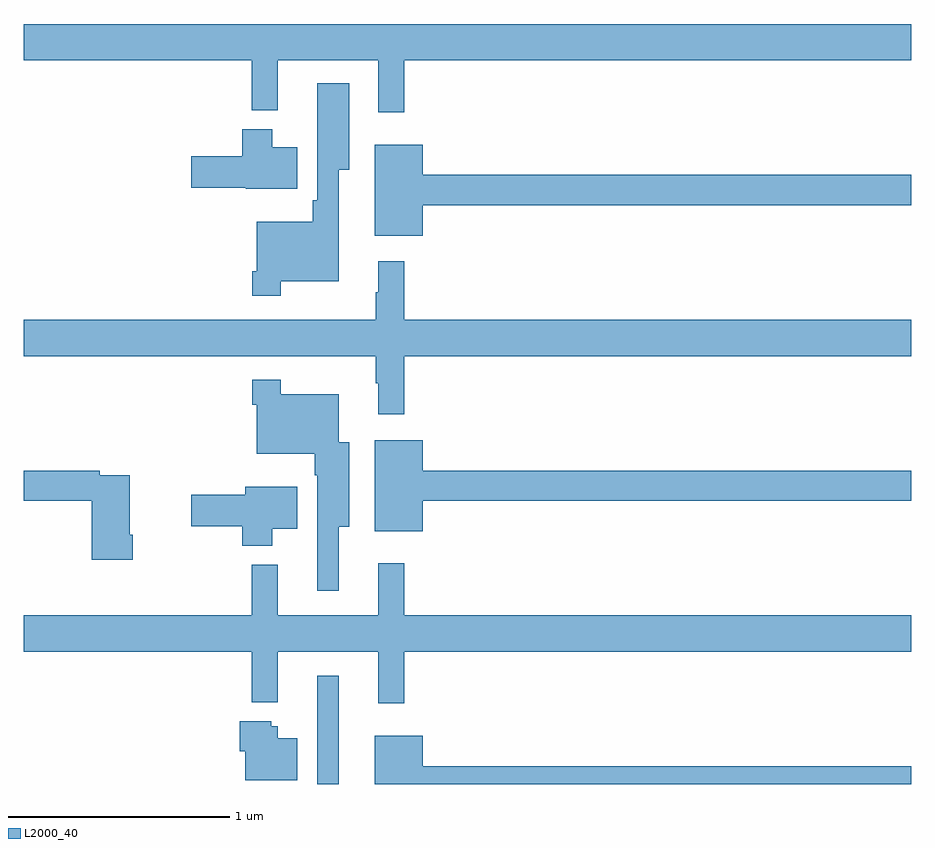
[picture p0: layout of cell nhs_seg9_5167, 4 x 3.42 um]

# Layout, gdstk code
import gdstk
lib = gdstk.Library(unit=1e-6, precision=1e-09)
def R(c, l, rs):  # rectangles x0, y0, x1, y1
    for r in rs: c.add(gdstk.rectangle(r[:2], r[2:], *l))
def P(c, l, *ps):  # polygons
    for p in ps: c.add(gdstk.Polygon(p, *l))
L2000_40 = (2000, 40)

nhs_seg9_5167 = lib.new_cell('nhs_seg9_5167')
R(nhs_seg9_5167, L2000_40, [(412.323,1186.5,412.42,1186.987)])
P(nhs_seg9_5167, L2000_40, [(412.715,1189.76),(415,1189.76),(415,1189.924),(411,1189.924),(411,1189.76),(412.027,1189.76),(412.027,1189.535),(412.144,1189.535),(412.144,1189.76),(412.598,1189.76),(412.598,1189.527),(412.715,1189.527)],
  [(412.159,1188.764),(412.42,1188.764),(412.42,1189.268),(412.468,1189.268),(412.468,1189.657),(412.322,1189.657),(412.322,1189.129),(412.303,1189.129),(412.303,1189.033),(412.05,1189.033),(412.05,1188.811),(412.03,1188.811),(412.03,1188.699),(412.159,1188.699)],
  [(412.234,1189.369),(412.12,1189.369),(412.12,1189.45),(411.986,1189.45),(411.986,1189.329),(411.756,1189.329),(411.756,1189.187),(412.002,1189.187),(412.002,1189.181),(412.234,1189.181)],
  [(412.798,1189.108),(415,1189.108),(415,1189.244),(412.798,1189.244),(412.798,1189.381),(412.583,1189.381),(412.583,1188.971),(412.798,1188.971)],
  [(412.715,1188.428),(415,1188.428),(415,1188.592),(412.715,1188.592),(412.715,1188.856),(412.598,1188.856),(412.598,1188.716),(412.587,1188.716),(412.587,1188.592),(411,1188.592),(411,1188.428),(412.587,1188.428),(412.587,1188.305),(412.598,1188.305),(412.598,1188.165),(412.715,1188.165)],
  [(412.421,1187.66),(412.468,1187.66),(412.468,1188.04),(412.42,1188.04),(412.42,1188.256),(412.159,1188.256),(412.159,1188.322),(412.03,1188.322),(412.03,1188.209),(412.05,1188.209),(412.05,1187.987),(412.311,1187.987),(412.311,1187.891),(412.323,1187.891),(412.323,1187.37),(412.421,1187.37)],
  [(412.798,1187.776),(415,1187.776),(415,1187.912),(412.798,1187.912),(412.798,1188.049),(412.583,1188.049),(412.583,1187.639),(412.798,1187.639)],
  [(411.491,1187.623),(411.478,1187.623),(411.478,1187.892),(411.344,1187.892),(411.344,1187.912),(411,1187.912),(411,1187.776),(411.308,1187.776),(411.308,1187.511),(411.491,1187.511)],
  [(412.12,1187.651),(412.234,1187.651),(412.234,1187.839),(411.998,1187.839),(411.998,1187.804),(411.756,1187.804),(411.756,1187.662),(411.986,1187.662),(411.986,1187.573),(412.12,1187.573)],
  [(412.715,1187.096),(415,1187.096),(415,1187.26),(412.715,1187.26),(412.715,1187.494),(412.598,1187.494),(412.598,1187.26),(412.145,1187.26),(412.145,1187.488),(412.027,1187.488),(412.027,1187.26),(411,1187.26),(411,1187.096),(412.027,1187.096),(412.027,1186.868),(412.145,1186.868),(412.145,1187.096),(412.598,1187.096),(412.598,1186.863),(412.715,1186.863)],
  [(412.234,1186.705),(412.144,1186.705),(412.144,1186.761),(412.116,1186.761),(412.116,1186.783),(411.974,1186.783),(411.974,1186.647),(411.998,1186.647),(411.998,1186.517),(412.234,1186.517)],
  [(415,1186.58),(412.798,1186.58),(412.798,1186.717),(412.583,1186.717),(412.583,1186.5),(415,1186.5)])

lib.write_gds('nhs_seg9_5167.gds')
